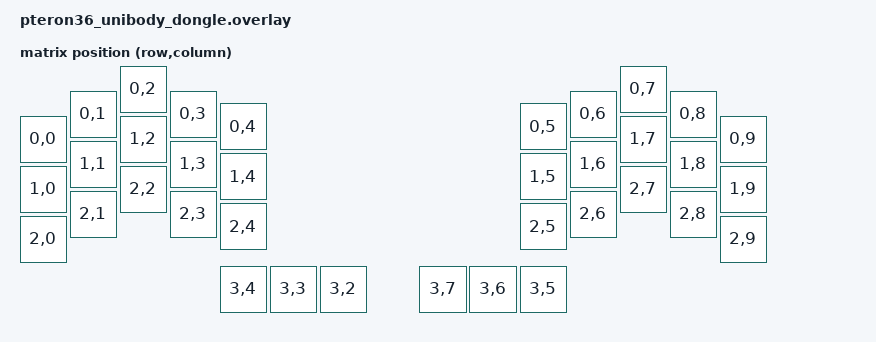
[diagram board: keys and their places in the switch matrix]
#include <dt-bindings/zmk/matrix_transform.h>
#include <physical_layouts.dtsi>
#include <zephyr/dt-bindings/dt-util.h>

/ {
    chosen {
        zmk,kscan = &mock_kscan;
        zmk,physical-layout = &physical_dongle_layout0;
    };

    mock_kscan: mock_kscan_0 {
        compatible = "zmk,kscan-mock";
        columns = <0>;
        rows = <0>;
        events = <0>;
    };
    default_transform_dongle: keymap_transform0 {
        compatible = "zmk,matrix-transform";
        columns = <10>; // Length of the "col-gpios" array
        rows = <4>; // Length of the "row-gpios" array
        map = <
        RC(0,0) RC(0,1) RC(0,2) RC(0,3) RC(0,4)                                 RC(0,5)RC(0,6) RC(0,7) RC(0,8) RC(0,9)
        RC(1,0) RC(1,1) RC(1,2) RC(1,3) RC(1,4)                                 RC(1,5) RC(1,6) RC(1,7) RC(1,8) RC(1,9)
        RC(2,0) RC(2,1) RC(2,2) RC(2,3) RC(2,4)                                 RC(2,5) RC(2,6) RC(2,7) RC(2,8) RC(2,9)
				                RC(3,4) RC(3,3) RC(3,2)                 RC(3,7) RC(3,6) RC(3,5) 
        >;
    };
    physical_dongle_layout0: physical_layout_0 { // First physical layout, use different naming for other layouts
        compatible = "zmk,physical-layout";
        display-name = "Default Layout";
        kscan = <&mock_kscan>; // Label of the kscan node, optional if all layouts use the same
        transform = <&default_transform_dongle>; // Label of the matrix transform for this layout
        keys  //                     w   h    x    y     rot    rx    ry
            = <&key_physical_attrs 100 100    0  100       0     0     0>
            , <&key_physical_attrs 100 100  100   50       0     0     0>
            , <&key_physical_attrs 100 100  200    0       0     0     0>
            , <&key_physical_attrs 100 100  300   50       0     0     0>
            , <&key_physical_attrs 100 100  400   75       0     0     0>
            , <&key_physical_attrs 100 100 1000   75       0     0     0>
            , <&key_physical_attrs 100 100 1100   50       0     0     0>
            , <&key_physical_attrs 100 100 1200    0       0     0     0>
            , <&key_physical_attrs 100 100 1300   50       0     0     0>
            , <&key_physical_attrs 100 100 1400  100       0     0     0>
            , <&key_physical_attrs 100 100    0  200       0     0     0>
            , <&key_physical_attrs 100 100  100  150       0     0     0>
            , <&key_physical_attrs 100 100  200  100       0     0     0>
            , <&key_physical_attrs 100 100  300  150       0     0     0>
            , <&key_physical_attrs 100 100  400  175       0     0     0>
            , <&key_physical_attrs 100 100 1000  175       0     0     0>
            , <&key_physical_attrs 100 100 1100  150       0     0     0>
            , <&key_physical_attrs 100 100 1200  100       0     0     0>
            , <&key_physical_attrs 100 100 1300  150       0     0     0>
            , <&key_physical_attrs 100 100 1400  200       0     0     0>
            , <&key_physical_attrs 100 100    0  300       0     0     0>
            , <&key_physical_attrs 100 100  100  250       0     0     0>
            , <&key_physical_attrs 100 100  200  200       0     0     0>
            , <&key_physical_attrs 100 100  300  250       0     0     0>
            , <&key_physical_attrs 100 100  400  275       0     0     0>
            , <&key_physical_attrs 100 100 1000  275       0     0     0>
            , <&key_physical_attrs 100 100 1100  250       0     0     0>
            , <&key_physical_attrs 100 100 1200  200       0     0     0>
            , <&key_physical_attrs 100 100 1300  250       0     0     0>
            , <&key_physical_attrs 100 100 1400  300       0     0     0>
            , <&key_physical_attrs 100 100  400  400       0     0     0>
            , <&key_physical_attrs 100 100  500  400       0     0     0>
            , <&key_physical_attrs 100 100  600  400       0     0     0>
            , <&key_physical_attrs 100 100  800  400       0     0     0>
            , <&key_physical_attrs 100 100  900  400       0     0     0>
            , <&key_physical_attrs 100 100 1000  400       0     0     0>
            ;
    };
};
